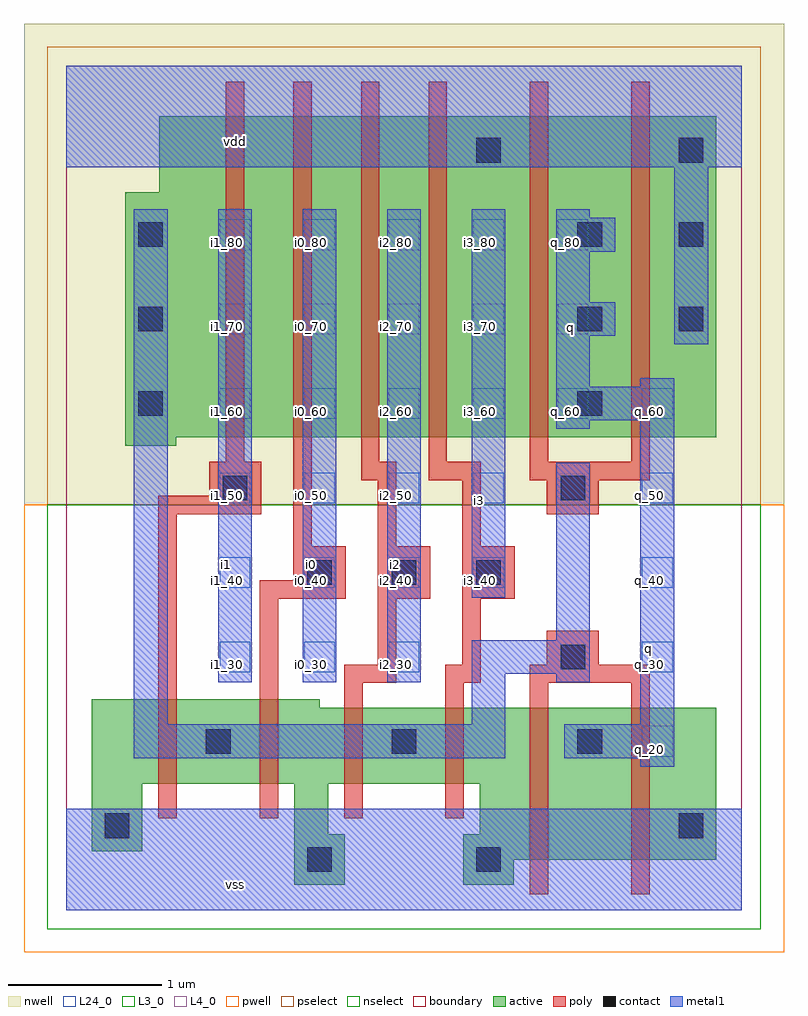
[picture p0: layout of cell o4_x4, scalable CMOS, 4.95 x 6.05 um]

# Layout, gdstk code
import gdstk
lib = gdstk.Library(unit=1e-6, precision=2.5e-09)
def R(c, l, rs):  # rectangles x0, y0, x1, y1
    for r in rs: c.add(gdstk.rectangle(r[:2], r[2:], *l))
def A(c, l, x, y, w, h, nx, ny, dx, dy):  # array of equal rectangles
    R(c, l, [(x+i*dx, y+j*dy, x+i*dx+w, y+j*dy+h) for i in range(nx) for j in range(ny)])
L3_0 = (3, 0)
L4_0 = (4, 0)
L24_0 = (24, 0)
contact = (25, 0)
pwell = (41, 0)
nwell = (42, 0)
active = (43, 0)
pselect = (44, 0)
nselect = (45, 0)
poly = (46, 0)
metal1 = (49, 0)
boundary = (63, 0)

o4_x4 = lib.new_cell('o4_x4')
R(o4_x4, L3_0, [(1.485,0.165,1.815,0.495), (2.585,0.165,2.915,0.33), (2.585,0.33,4.235,0.495), (0.165,0.385,0.495,0.825), (1.485,0.495,1.705,0.825), (2.695,0.495,4.235,0.825), (0.165,0.825,4.235,1.32), (0.165,1.32,1.65,1.375)])
R(o4_x4, L4_0, [(0.385,3.025,0.715,3.08), (0.385,3.08,4.235,4.675), (0.605,4.675,4.235,5.17)])
A(o4_x4, L24_0, 3.75, 1, 0.2, 0.2, 1, 4, 0, 0.55)
A(o4_x4, L24_0, 1, 1.55, 0.2, 0.2, 3, 1, 0.55, 0)
A(o4_x4, L24_0, 1, 2.1, 0.2, 0.2, 4, 2, 0.55, 0.55)
A(o4_x4, L24_0, 1, 3.2, 0.2, 0.2, 6, 1, 0.55, 0)
A(o4_x4, L24_0, 1, 3.75, 0.2, 0.2, 5, 2, 0.55, 0.55)
A(o4_x4, contact, 0.91, 1.02, 0.16, 0.16, 3, 1, 1.21, 0)
A(o4_x4, contact, 1.57, 2.12, 0.16, 0.16, 3, 1, 0.55, 0)
A(o4_x4, contact, 0.47, 3.22, 0.16, 0.16, 1, 3, 0, 0.55)
A(o4_x4, contact, 3.33, 3.22, 0.16, 0.16, 1, 3, 0, 0.55)
A(o4_x4, contact, 3.99, 3.77, 0.16, 0.16, 1, 3, 0, 0.55)
R(o4_x4, contact, [(1.57,0.25,1.73,0.41), (2.67,0.25,2.83,0.41), (0.25,0.47,0.41,0.63), (3.99,0.47,4.15,0.63), (3.22,1.57,3.38,1.73), (1.02,2.67,1.18,2.83), (3.22,2.67,3.38,2.83), (2.67,4.87,2.83,5.03)])
R(o4_x4, pwell, [(-0.275,-0.275,4.675,2.64)])
R(o4_x4, nwell, [(-0.275,2.64,4.675,5.775)])
R(o4_x4, active, [(1.485,0.165,1.815,0.495), (2.585,0.165,2.915,0.33), (2.585,0.33,4.235,0.495), (0.165,0.385,0.495,0.825), (1.485,0.495,1.705,0.825), (2.695,0.495,4.235,0.825), (0.165,0.825,4.235,1.32), (0.165,1.32,1.65,1.375), (0.385,3.025,0.715,3.08), (0.385,3.08,4.235,4.675), (0.605,4.675,4.235,5.17)])
R(o4_x4, pselect, [(-0.125,2.64,4.525,5.625)])
R(o4_x4, nselect, [(-0.125,-0.125,4.525,2.64)])
A(o4_x4, poly, 2.36, 2.92, 0.12, 2.475, 3, 1, 0.66, 0)
R(o4_x4, poly, [(3.02,0.105,3.14,1.48), (3.68,0.105,3.8,1.48), (0.6,0.6,0.72,2.58), (1.26,0.6,1.38,2.03), (1.81,0.6,1.93,1.48), (2.47,0.6,2.59,1.48), (1.81,1.48,2.15,1.6), (2.47,1.48,2.7,1.6), (3.02,1.48,3.8,1.6), (2.03,1.6,2.15,2.03), (2.58,1.6,2.7,2.03), (3.13,1.6,3.47,1.82), (1.26,2.03,1.82,2.15), (2.03,2.03,2.37,2.37), (2.58,2.03,2.92,2.37), (1.48,2.15,1.82,2.37), (1.48,2.37,1.6,5.395), (2.03,2.37,2.15,2.8), (2.58,2.37,2.7,2.8), (0.6,2.58,1.27,2.7), (3.13,2.58,3.47,2.8), (0.93,2.7,1.27,2.92), (1.92,2.8,2.15,2.92), (2.36,2.8,2.7,2.92), (3.02,2.8,3.8,2.92), (1.04,2.92,1.16,5.395), (1.92,2.92,2.04,5.395)])
A(o4_x4, metal1, 0.99, 1.485, 0.22, 3.08, 3, 1, 0.55, 0)
R(o4_x4, metal1, [(0,0,4.4,0.66), (3.74,0.935,3.96,0.99), (0.44,0.99,2.86,1.21), (3.245,0.99,3.96,1.21), (0.44,1.21,0.66,4.565), (2.64,1.21,2.86,1.54), (3.74,1.21,3.96,3.19), (3.19,1.485,3.41,1.54), (2.64,1.54,3.41,1.76), (3.19,1.76,3.41,2.915), (2.64,2.035,2.86,4.565), (3.19,3.135,3.41,3.19), (3.19,3.19,3.96,3.41), (3.19,3.41,3.41,3.74), (3.74,3.41,3.96,3.465), (3.96,3.685,4.18,4.84), (3.19,3.74,3.575,3.96), (3.19,3.96,3.41,4.29), (3.19,4.29,3.575,4.51), (3.19,4.51,3.41,4.565), (0,4.84,4.4,5.5)])
R(o4_x4, boundary, [(0,0,4.4,5.5)])
o4_x4.add(gdstk.Label('vss', (1.1,0.165), layer=49, texttype=0))
o4_x4.add(gdstk.Label('q', (3.795,1.705), layer=49, texttype=0))
o4_x4.add(gdstk.Label('q', (3.285,3.795), layer=49, texttype=0))
o4_x4.add(gdstk.Label('i3', (2.695,2.6675), layer=49, texttype=0))
o4_x4.add(gdstk.Label('i2', (2.145,2.255), layer=49, texttype=0))
o4_x4.add(gdstk.Label('i0', (1.595,2.255), layer=49, texttype=0))
o4_x4.add(gdstk.Label('i1', (1.045,2.255), layer=49, texttype=0))
o4_x4.add(gdstk.Label('vdd', (1.1,5.005), layer=49, texttype=0))
o4_x4.add(gdstk.Label('q_60', (3.8,3.25), layer=24, texttype=0))
o4_x4.add(gdstk.Label('i3_40', (2.7,2.15), layer=24, texttype=0))
o4_x4.add(gdstk.Label('i3_50', (2.7,2.7), layer=24, texttype=0))
o4_x4.add(gdstk.Label('i3_60', (2.7,3.25), layer=24, texttype=0))
o4_x4.add(gdstk.Label('i3_70', (2.7,3.8), layer=24, texttype=0))
o4_x4.add(gdstk.Label('i3_80', (2.7,4.35), layer=24, texttype=0))
o4_x4.add(gdstk.Label('i1_80', (1.05,4.35), layer=24, texttype=0))
o4_x4.add(gdstk.Label('i1_70', (1.05,3.8), layer=24, texttype=0))
o4_x4.add(gdstk.Label('i1_60', (1.05,3.25), layer=24, texttype=0))
o4_x4.add(gdstk.Label('i1_50', (1.05,2.7), layer=24, texttype=0))
o4_x4.add(gdstk.Label('i1_40', (1.05,2.15), layer=24, texttype=0))
o4_x4.add(gdstk.Label('i1_30', (1.05,1.6), layer=24, texttype=0))
o4_x4.add(gdstk.Label('i0_30', (1.6,1.6), layer=24, texttype=0))
o4_x4.add(gdstk.Label('i0_40', (1.6,2.15), layer=24, texttype=0))
o4_x4.add(gdstk.Label('i0_50', (1.6,2.7), layer=24, texttype=0))
o4_x4.add(gdstk.Label('i0_60', (1.6,3.25), layer=24, texttype=0))
o4_x4.add(gdstk.Label('i0_70', (1.6,3.8), layer=24, texttype=0))
o4_x4.add(gdstk.Label('i0_80', (1.6,4.35), layer=24, texttype=0))
o4_x4.add(gdstk.Label('i2_30', (2.15,1.6), layer=24, texttype=0))
o4_x4.add(gdstk.Label('i2_40', (2.15,2.15), layer=24, texttype=0))
o4_x4.add(gdstk.Label('i2_50', (2.15,2.7), layer=24, texttype=0))
o4_x4.add(gdstk.Label('i2_60', (2.15,3.25), layer=24, texttype=0))
o4_x4.add(gdstk.Label('i2_70', (2.15,3.8), layer=24, texttype=0))
o4_x4.add(gdstk.Label('i2_80', (2.15,4.35), layer=24, texttype=0))
o4_x4.add(gdstk.Label('q_50', (3.8,2.7), layer=24, texttype=0))
o4_x4.add(gdstk.Label('q_40', (3.8,2.15), layer=24, texttype=0))
o4_x4.add(gdstk.Label('q_30', (3.8,1.6), layer=24, texttype=0))
o4_x4.add(gdstk.Label('q_20', (3.8,1.05), layer=24, texttype=0))
o4_x4.add(gdstk.Label('q_80', (3.25,4.35), layer=24, texttype=0))
o4_x4.add(gdstk.Label('q_70', (3.25,3.8), layer=24, texttype=0))
o4_x4.add(gdstk.Label('q_60', (3.25,3.25), layer=24, texttype=0))

lib.write_gds('o4_x4.gds')
